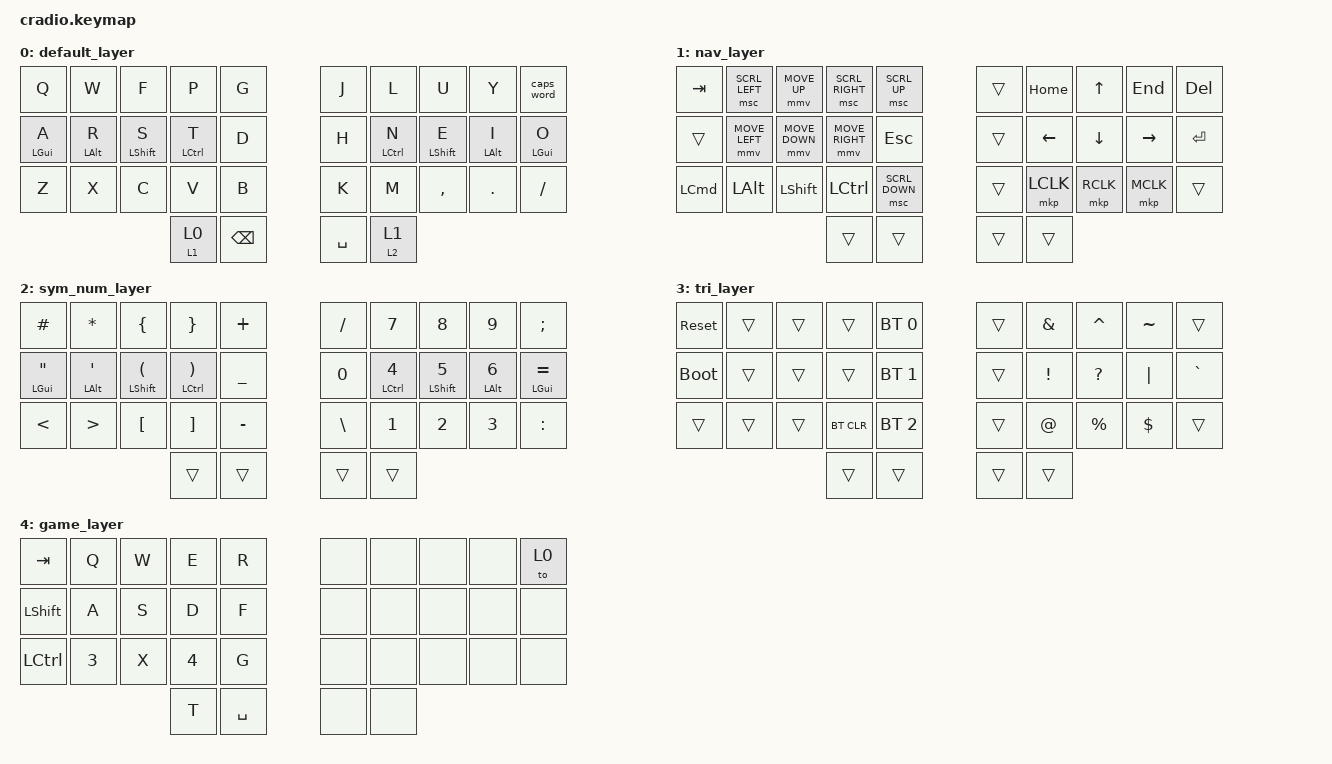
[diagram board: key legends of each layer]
// Copyright (c) 2022 The ZMK Contributors
// SPDX-License-Identifier: MIT
// These values are the maximum velocities used by MOVE_* and SCRL_*.
// They must be defined before pointing.h so its macros expand to these values.

#define ZMK_POINTING_DEFAULT_MOVE_VAL 1500
#define ZMK_POINTING_DEFAULT_SCRL_VAL 20

#include <behaviors.dtsi>
#include <dt-bindings/zmk/bt.h>
#include <dt-bindings/zmk/keys.h>
#include <dt-bindings/zmk/pointing.h>

// Home row mods macro
// #define HRML(k1,k2,k3,k4) &ht LSHFT k1  &ht LALT k2  &ht LCTRL k3  &ht LGUI k4
// #define HRMR(k1,k2,k3,k4) &ht RGUI k1  &ht RCTRL k2  &ht RALT k3  &ht RSHFT k4
// Ramp both cursor movement and scrolling up to their maximum velocities.
// Scrolling defaults to acceleration-exponent = <0> (constant speed), so it
// must be overridden explicitly to accelerate.

&mmv {
    time-to-max-speed-ms = <300>;
    acceleration-exponent = <1>;
};

&msc {
    time-to-max-speed-ms = <300>;
    acceleration-exponent = <1>;
};

/ {
    behaviors {
        ht: hold_tap {
            compatible = "zmk,behavior-hold-tap";
            #binding-cells = <2>;
            flavor = "tap-preferred";
            tapping-term-ms = <220>;
            quick-tap-ms = <150>;
            require-prior-idle-ms = <100>;
            bindings = <&kp>, <&kp>;
        };

        lpht: left_positional_hold_tap {
            compatible = "zmk,behavior-hold-tap";
            label = "left_positional_hold_tap";
            bindings = <&kp>, <&kp>;

            #binding-cells = <2>;
            tapping-term-ms = <100>;
            quick-tap-ms = <200>;
            hold-trigger-key-positions = <15 16 17 18 19>;
            flavor = "tap-unless-interrupted";
        };

        rpht: right_positional_hold_tap {
            compatible = "zmk,behavior-hold-tap";
            label = "right_positional_hold_tap";
            bindings = <&kp>, <&kp>;

            #binding-cells = <2>;
            tapping-term-ms = <100>;
            quick-tap-ms = <200>;
            flavor = "tap-unless-interrupted";
            hold-trigger-key-positions = <10 11 12 13 14>;
        };

        bhm: balanced_homerow_mods {
            compatible = "zmk,behavior-hold-tap";
            label = "BALANCED_HOMEROW_MODS";
            bindings = <&kp>, <&kp>;

            #binding-cells = <2>;
            tapping-term-ms = <200>;
            quick-tap-ms = <0>;
            flavor = "balanced";
        };

        htsl: hold_tap_switch_layer {
            compatible = "zmk,behavior-hold-tap";
            label = "HOLD_TAP_SWITCH_LAYER";
            bindings = <&mo>, <&to>;

            #binding-cells = <2>;
            tapping-term-ms = <200>;
            flavor = "balanced";
        };
    };

    conditional_layers {
        compatible = "zmk,conditional-layers";

        tri_layer {
            if-layers = <1 2>;
            then-layer = <3>;
        };
    };

    combos {
        compatible = "zmk,combos";

        to_game_layer {
            bindings = <&to 4>;
            key-positions = <0 1 2 3>;
        };
    };

    keymap {
        compatible = "zmk,keymap";

        default_layer {
            bindings = <
&kp Q            &kp W        &kp F              &kp P         &kp G            &kp J      &kp L         &kp U          &kp Y        &caps_word
&bhm LEFT_GUI A  &bhm LALT R  &bhm LEFT_SHIFT S  &bhm LCTRL T  &kp D            &kp H      &bhm LCTRL N  &bhm LSHIFT E  &bhm LALT I  &bhm LGUI O
&kp Z            &kp X        &kp C              &kp V         &kp B            &kp K      &kp M         &kp COMMA      &kp DOT      &kp FSLH
                                                 &htsl 1 0     &kp BACKSPACE    &kp SPACE  &htsl 2 1
            >;
        };

        nav_layer {
            bindings = <
&kp TAB           &msc SCRL_LEFT  &mmv MOVE_UP    &msc SCRL_RIGHT  &msc SCRL_UP      &trans  &kp HOME   &kp UP     &kp END    &kp DELETE
&trans            &mmv MOVE_LEFT  &mmv MOVE_DOWN  &mmv MOVE_RIGHT  &kp ESCAPE        &trans  &kp LEFT   &kp DOWN   &kp RIGHT  &kp ENTER
&kp LEFT_COMMAND  &kp LEFT_ALT    &kp LSHFT       &kp LCTRL        &msc SCRL_DOWN    &trans  &mkp LCLK  &mkp RCLK  &mkp MCLK  &trans
                                                  &trans           &trans            &trans  &trans
            >;
        };

        sym_num_layer {
            bindings = <
&kp HASH           &kp STAR          &kp LEFT_BRACE                &kp RIGHT_BRACE               &kp PLUS     &kp FSLH  &kp N7               &kp N8         &kp N9        &kp SEMI
&bhm LEFT_GUI DQT  &bhm LALT SQT     &bhm LSHIFT LEFT_PARENTHESIS  &bhm LCTRL RIGHT_PARENTHESIS  &kp UNDER    &kp N0    &bhm LCTRL NUMBER_4  &bhm LSHFT N5  &bhm LALT N6  &bhm LGUI EQUAL
&kp LESS_THAN      &kp GREATER_THAN  &kp LEFT_BRACKET              &kp RBKT                      &kp MINUS    &kp BSLH  &kp N1               &kp N2         &kp N3        &kp COLON
                                                                   &trans                        &trans       &trans    &trans
            >;
        };

        tri_layer {
            bindings = <
&sys_reset   &trans  &trans  &trans      &bt BT_SEL 0    &trans  &kp AMPS  &kp CARET     &kp TILDE   &trans
&bootloader  &trans  &trans  &trans      &bt BT_SEL 1    &trans  &kp EXCL  &kp QUESTION  &kp PIPE    &kp GRAVE
&trans       &trans  &trans  &bt BT_CLR  &bt BT_SEL 2    &trans  &kp AT    &kp PERCENT   &kp DOLLAR  &trans
                             &trans      &trans          &trans  &trans
            >;
        };

        game_layer {
            bindings = <
&kp TAB         &kp Q         &kp W  &kp E         &kp R        &none  &none  &none  &none  &to 0
&kp LEFT_SHIFT  &kp A         &kp S  &kp D         &kp F        &none  &none  &none  &none  &none
&kp LCTRL       &kp NUMBER_3  &kp X  &kp NUMBER_4  &kp G        &none  &none  &none  &none  &none
                                     &kp T         &kp SPACE    &none  &none
            >;
        };
    };
};
